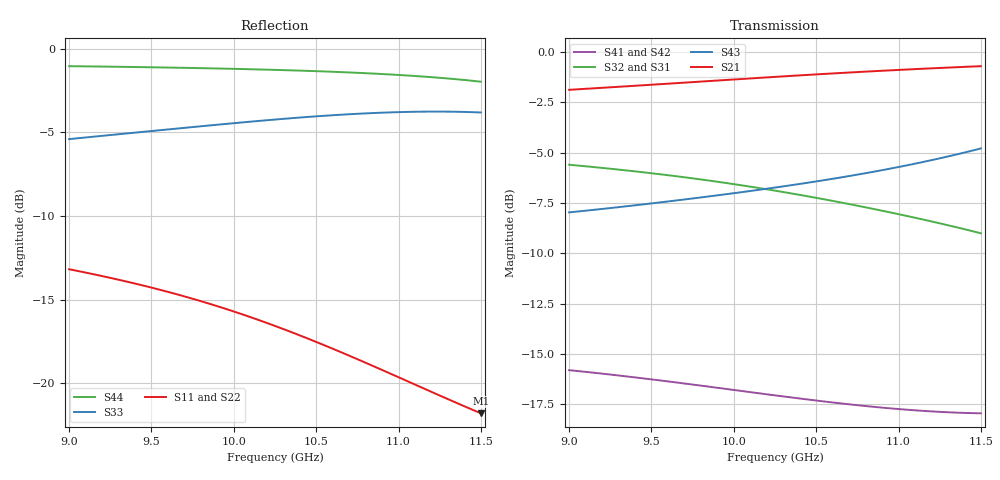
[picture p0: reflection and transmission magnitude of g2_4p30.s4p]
! Touchstone file exported from HFSS 2025.2.4
!  File:  C:/Users/chaoy/Documents/single_magictee_v1_g2_430/single_magictee_v1.aedt
!  Generated:  08:49:25 AM Sep 19, 2026
!  Design:  SingleMagicT_v1
!  Project:  single_magictee_v1
! Variables:
!  f_adapt = 10.2GHz
!  ridge_g1 = 7.672mm
!  ridge_g2 = 4.3mm
!  ridge_l1 = 9.872mm
!  ridge_l2 = 8.857mm
!  ridge_w = 4.572mm
!  wg_a = 22.86mm
!  wg_b = 10.16mm
!Data is not renormalized
# GHz S MA
! Terminal data exported
! Port[1] = P1_CollinearMinusX
! Port[2] = P2_CollinearPlusX
! Port[3] = P3_HArm_Ridged
! Port[4] = P4_EArm
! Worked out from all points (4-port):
!   101 points, 9 GHz to 11.5 GHz, reference per port
!   strongest paths, dB at 9 GHz, 9.625 GHz, 10.25 GHz, 10.88 GHz, 11.5 GHz:
!     S21: -1.9, -1.6, -1.2, -0.9, -0.7
!     S43: -8.0, -7.4, -6.7, -5.9, -4.8
!     S32: -5.6, -6.1, -6.9, -7.8, -9.0
!     S31: -5.6, -6.1, -6.9, -7.8, -9.0
!     S41: -15.8, -16.4, -17.0, -17.6, -17.9
!     S42: -15.8, -16.4, -17.1, -17.7, -18.1
!   lowest |S11| = -21.8 dB at 11.5 GHz (marker M1), VSWR 1.18
!   |S11| at or under -10 dB: start of sweep to end of sweep
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9  0.2194 -18.4  0.8062 -167.3  0.525 105.2  0.1622 73.7
   0.8062 -167.3  0.2188 -18.7  0.5253 105.1  0.1623 73.6
   0.525 105.2  0.5253 105.1  0.5371 -164.6  0.4 117.8
   0.1622 73.7  0.1623 73.6  0.4 117.8  0.8873 -119.5
9.575  0.1892 -86.2  0.8337 124.9  0.4958 35.3  0.1526 -1.3
       0.8337 124.9  0.1884 -86.5  0.4962 35.3  0.1524 -1.3
       0.4958 35.3  0.4962 35.3  0.5725 124.3  0.4246 49.1
       0.1526 -1.3  0.1524 -1.3  0.4246 49.1  0.8794 168.6
9.9  0.1701 -122.4  0.8502 88.0  0.4761 -3.2  0.1467 -42.5
     0.8502 88.0  0.1691 -122.7  0.4766 -3.3  0.1463 -42.4
     0.4761 -3.2  0.4766 -3.3  0.5931 84.6  0.4409 11.3
     0.1467 -42.5  0.1463 -42.4  0.4409 11.3  0.8733 129.7
10.225  0.1501 -157.2  0.8668 51.9  0.4541 -41.2  0.1409 -83.0
        0.8668 51.9  0.1489 -157.5  0.4547 -41.3  0.1404 -82.9
        0.4541 -41.2  0.4547 -41.3  0.6131 45.4  0.4595 -26.1
        0.1409 -83.0  0.1404 -82.9  0.4595 -26.1  0.8656 91.6
10.575  0.1285 167.0  0.8841 13.6  0.4284 -81.5  0.1352 -126.1
        0.8841 13.6  0.1272 166.7  0.429 -81.6  0.1345 -126.0
        0.4284 -81.5  0.429 -81.6  0.6319 3.8  0.4828 -65.9
        0.1352 -126.1  0.1345 -126.0  0.4828 -65.9  0.8547 51.2
10.9  0.1097 135.1  0.899 -21.5  0.4031 -118.5  0.1309 -165.9
      0.899 -21.5  0.1084 134.8  0.4038 -118.5  0.13 -165.7
      0.4031 -118.5  0.4038 -118.5  0.6443 -34.4  0.5092 -102.6
      0.1309 -165.9  0.13 -165.7  0.5092 -102.6  0.8407 14.1
11.5  0.08141 75.5  0.923 -85.7  0.3541 173.8  0.1267 120.0
      0.923 -85.7  0.08052 75.7  0.3549 174.0  0.1251 120.3
      0.3541 173.8  0.3549 174.0  0.6451 -105.4  0.5766 -170.9
      0.1267 120.0  0.1251 120.3  0.5766 -170.9  0.7974 -54.0
